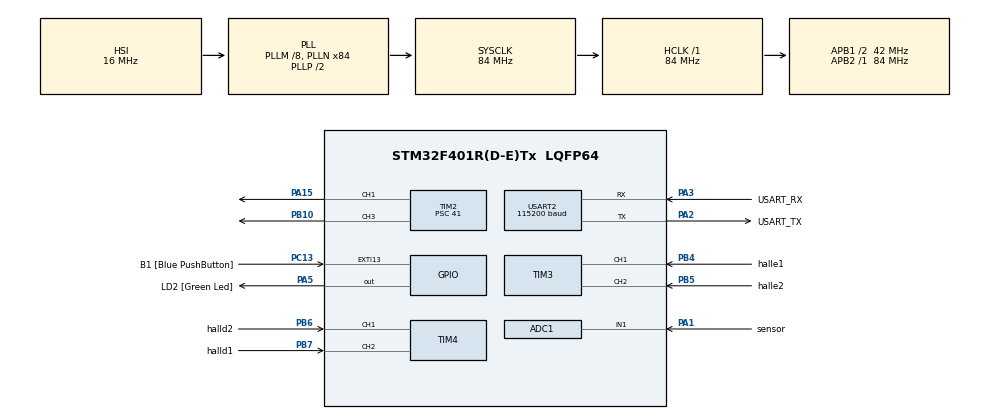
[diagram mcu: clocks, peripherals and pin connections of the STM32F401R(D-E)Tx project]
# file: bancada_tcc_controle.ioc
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ADC1.Channel-1\#ChannelRegularConversion=ADC_CHANNEL_1
ADC1.ContinuousConvMode=ENABLE
ADC1.ExternalTrigConv=ADC_EXTERNALTRIGCONV_T2_TRGO
ADC1.NbrOfConversionFlag=1
ADC1.Rank-1\#ChannelRegularConversion=1
ADC1.SamplingTime-1\#ChannelRegularConversion=ADC_SAMPLETIME_28CYCLES
ADC1.master=1
Dma.Request0=USART2_TX
Dma.USART2_TX.0.Direction=DMA_MEMORY_TO_PERIPH
Dma.USART2_TX.0.FIFOMode=DMA_FIFOMODE_DISABLE
Dma.USART2_TX.0.Instance=DMA1_Stream6
Dma.USART2_TX.0.MemDataAlignment=DMA_MDATAALIGN_BYTE
Dma.USART2_TX.0.MemInc=DMA_MINC_ENABLE
Dma.USART2_TX.0.Mode=DMA_NORMAL
Dma.USART2_TX.0.PeriphDataAlignment=DMA_PDATAALIGN_BYTE
Dma.USART2_TX.0.PeriphInc=DMA_PINC_DISABLE
Dma.USART2_TX.0.Priority=DMA_PRIORITY_LOW
Mcu.Family=STM32F4
Mcu.Name=STM32F401R(D-E)Tx
Mcu.Package=LQFP64
NVIC.ADC_IRQn=true\:0\:0\:false\:false\:true\:true\:true\:true
NVIC.DMA1_Stream6_IRQn=true\:0\:0\:false\:false\:true\:false\:true\:true
NVIC.EXTI15_10_IRQn=true\:0\:0\:false\:false\:true\:true\:true\:true
NVIC.PriorityGroup=NVIC_PRIORITYGROUP_0
NVIC.TIM2_IRQn=true\:0\:0\:false\:false\:true\:true\:true\:true
NVIC.USART2_IRQn=true\:0\:0\:false\:false\:true\:true\:true\:true
PA1.GPIO_Label=sensor
PA1.Signal=ADCx_IN1
PA13.GPIO_Label=TMS
PA13.Mode=Serial_Wire
PA13.Signal=SYS_JTMS-SWDIO
PA14.GPIO_Label=TCK
PA14.Mode=Serial_Wire
PA14.Signal=SYS_JTCK-SWCLK
PA15.Signal=S_TIM2_CH1_ETR
PA2.GPIO_Label=USART_TX
PA2.GPIO_Mode=GPIO_MODE_AF_PP
PA2.GPIO_PuPd=GPIO_NOPULL
PA2.GPIO_Speed=GPIO_SPEED_FREQ_LOW
PA2.Mode=Asynchronous
PA2.Signal=USART2_TX
PA3.GPIO_Label=USART_RX
PA3.GPIO_Mode=GPIO_MODE_AF_PP
PA3.GPIO_PuPd=GPIO_NOPULL
PA3.GPIO_Speed=GPIO_SPEED_FREQ_LOW
PA3.Mode=Asynchronous
PA3.Signal=USART2_RX
PA5.GPIO_Label=LD2 [Green Led]
PA5.GPIO_Mode=GPIO_MODE_OUTPUT_PP
PA5.GPIO_PuPd=GPIO_NOPULL
PA5.GPIO_Speed=GPIO_SPEED_FREQ_LOW
PA5.Signal=GPIO_Output
PB10.Signal=S_TIM2_CH3
PB3.GPIO_Label=SWO
PB3.Signal=SYS_JTDO-SWO
PB4.GPIO_Label=halle1
PB4.Signal=S_TIM3_CH1
PB5.GPIO_Label=halle2
PB5.Signal=S_TIM3_CH2
PB6.GPIO_Label=halld2
PB6.Signal=S_TIM4_CH1
PB7.GPIO_Label=halld1
PB7.Signal=S_TIM4_CH2
PC13-ANTI_TAMP.GPIO_Label=B1 [Blue PushButton]
PC13-ANTI_TAMP.GPIO_ModeDefaultEXTI=GPIO_MODE_IT_FALLING
PC13-ANTI_TAMP.GPIO_PuPd=GPIO_NOPULL
PC13-ANTI_TAMP.Signal=GPXTI13
PC14-OSC32_IN.Mode=LSE-External-Oscillator
PC14-OSC32_IN.Signal=RCC_OSC32_IN
PC15-OSC32_OUT.Mode=LSE-External-Oscillator
PC15-OSC32_OUT.Signal=RCC_OSC32_OUT
PH0\ -\ OSC_IN.Mode=HSE-External-Clock-Source
PH0\ -\ OSC_IN.Signal=RCC_OSC_IN
PH1\ -\ OSC_OUT.Mode=HSE-External-Clock-Source
PH1\ -\ OSC_OUT.Signal=RCC_OSC_OUT
ProjectManager.HeapSize=0x200
ProjectManager.StackSize=0x400
ProjectManager.TargetToolchain=STM32CubeIDE
RCC.48MHZClocksFreq_Value=24000000
RCC.AHBFreq_Value=84000000
RCC.APB1CLKDivider=RCC_HCLK_DIV2
RCC.APB1Freq_Value=42000000
RCC.APB1TimFreq_Value=84000000
RCC.APB2Freq_Value=84000000
RCC.APB2TimFreq_Value=84000000
RCC.CortexFreq_Value=84000000
RCC.HCLKFreq_Value=84000000
RCC.HSE_VALUE=8000000
RCC.HSI_VALUE=16000000
RCC.PLLM=8
RCC.PLLN=84
RCC.PLLQ=7
RCC.SYSCLKFreq_VALUE=84000000
RCC.SYSCLKSource=RCC_SYSCLKSOURCE_PLLCLK
RCC.VCOOutputFreq_Value=168000000
SH.ADCx_IN1.0=ADC1_IN1,IN1
SH.S_TIM2_CH1_ETR.0=TIM2_CH1,PWM Generation1 CH1
SH.S_TIM2_CH3.0=TIM2_CH3,PWM Generation3 CH3
SH.S_TIM3_CH1.0=TIM3_CH1,Encoder_Interface
SH.S_TIM3_CH2.0=TIM3_CH2,Encoder_Interface
SH.S_TIM4_CH1.0=TIM4_CH1,Encoder_Interface
SH.S_TIM4_CH2.0=TIM4_CH2,Encoder_Interface
TIM2.Channel-PWM\ Generation1\ CH1=TIM_CHANNEL_1
TIM2.Channel-PWM\ Generation3\ CH3=TIM_CHANNEL_3
TIM2.Period=19999
TIM2.Prescaler=41
TIM2.TIM_MasterOutputTrigger=TIM_TRGO_UPDATE
TIM3.EncoderMode=TIM_ENCODERMODE_TI12
TIM4.EncoderMode=TIM_ENCODERMODE_TI12
USART2.BaudRate=115200
USART2.VirtualMode=VM_ASYNC
board=NUCLEO-F401RE

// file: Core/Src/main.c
/* USER CODE BEGIN Header */
/**
  ******************************************************************************
  * @file           : main.c
  * @brief          : Main program body
  ******************************************************************************
  * @attention
  *
  * Copyright (c) 2023 STMicroelectronics.
  * All rights reserved.
  *
  * This software is licensed under terms that can be found in the LICENSE file
  * in the root directory of this software component.
  * If no LICENSE file comes with this software, it is provided AS-IS.
  *
  ******************************************************************************
  */
/* USER CODE END Header */
#include "main.h"

/* USER CODE BEGIN Includes */
#include <stdio.h>
/* USER CODE END Includes */

/* USER CODE BEGIN PD */
#define MOTOR_RESET_CONDITION 0
#define MOTOR_IDLE_CONDITION 200
#define MOTOR_HOVER_CONDITION 1000//250
#define MOTOR_MAX_CONTROL 1800

#define KP 1.50f
#define KI 0.001f
#define KD 0.03f

#define IERR_MAX 1000.0f
#define IERR_MIN -1000.0f

#define D_FILTER_ALPHA 0.7f

//#define angle_inclination 0.619770239f
//#define angle_bias 1.187841465f

#define angle_inclination  18.15405//2.138189f
#define angle_bias 27.8726//5431.43f

#define STEP_LEFT_PWM 0
#define STEP_RIGHT_PWM_START 200U
#define STEP_RIGHT_PWM_INCREMENT 200U
#define STEP_RIGHT_PWM_LAST 1800U
#define STEP_SAMPLE_COUNT 1000U
#define STEP_COUNT (((STEP_RIGHT_PWM_LAST - STEP_RIGHT_PWM_START) / STEP_RIGHT_PWM_INCREMENT) + 1U)

/* USER CODE END PD */

ADC_HandleTypeDef hadc1;

TIM_HandleTypeDef htim2;
TIM_HandleTypeDef htim3;
TIM_HandleTypeDef htim4;

UART_HandleTypeDef huart2;
DMA_HandleTypeDef hdma_usart2_tx;

/* USER CODE BEGIN PV */
volatile uint8_t flag_user = 0;
uint8_t pData[2];

void HAL_GPIO_EXTI_Callback(uint16_t GPIO_Pin)
{
	if(GPIO_Pin == B1_Pin)
	{
		flag_user = 1;
	}
}

void blink_led(int repetitions)
{
	for(int i=0; i< repetitions; i++)
	{
	  HAL_GPIO_TogglePin(LD2_GPIO_Port, LD2_Pin);
	  HAL_Delay(20);
	}
}
void wait_user()
{
	while(!flag_user)
	{
		HAL_Delay(10);
	}
	flag_user = 0;
}

volatile uint8_t dataready = 0;
volatile uint32_t angle_in_bits = 0;
void HAL_ADC_ConvCpltCallback(ADC_HandleTypeDef* hadc)
{
    if(hadc->Instance == ADC1)
    {
        angle_in_bits = HAL_ADC_GetValue(hadc);
        dataready = 1U;
    }
}

uint32_t clip(int16_t action, uint16_t min, uint16_t max)
{
	if(action < min) action = min;
	if(action > max) action = max;
	return (uint32_t)action;
}

void PWM_setCombinedValue(TIM_HandleTypeDef* htim, int16_t left_actionx10, int16_t right_actionx10)
{//x20 não x10
	uint32_t norm_U_dir = clip(right_actionx10, 0, 2000);
	uint32_t norm_U_esq = clip(left_actionx10, 0, 2000);
	norm_U_dir = 2000+norm_U_dir;
	norm_U_esq = 2000+norm_U_esq;
	htim->Instance->CCR3 = norm_U_esq;
	htim->Instance->CCR1 = norm_U_dir;
	//__HAL_TIM_SET_COMPARE(&htim2, TIM_CHANNEL_1, norm_U_esq);
	//__HAL_TIM_SET_COMPARE(&htim2, TIM_CHANNEL_3, norm_U_dir);
}

/* USER CODE END PV */

void SystemClock_Config(void);
static void MX_GPIO_Init(void);
static void MX_DMA_Init(void);
static void MX_USART2_UART_Init(void);
static void MX_ADC1_Init(void);
static void MX_TIM2_Init(void);
static void MX_TIM3_Init(void);
static void MX_TIM4_Init(void);

int main(void)
{

  /* MCU Configuration--------------------------------------------------------*/

  /* Reset of all peripherals, Initializes the Flash interface and the Systick. */
  HAL_Init();

  /* Configure the system clock */
  SystemClock_Config();

  /* Initialize all configured peripherals */
  MX_GPIO_Init();
  MX_DMA_Init();
  MX_USART2_UART_Init();
  MX_ADC1_Init();
  MX_TIM2_Init();
  MX_TIM3_Init();
  MX_TIM4_Init();
  /* USER CODE BEGIN 2 */

//  HAL_UART_Transmit(&huart2, pData, 2, 1000);
 // HAL_UART_Transmit(&huart2, "\r\n", 2, 1000);
 //wait_user();
  HAL_TIM_PWM_Init(&htim2);
 // htim2.Instance->ARR = 39999;

  //Motor1 é esquerdo
  HAL_TIM_PWM_Start(&htim2, TIM_CHANNEL_1);
  HAL_TIM_PWM_Start(&htim2, TIM_CHANNEL_3);
  PWM_setCombinedValue(&htim2,0,0);
  HAL_Delay(1000);
  wait_user();
  /* USER CODE END 2 */

  /* Infinite loop */
  /* USER CODE BEGIN WHILE */
  PWM_setCombinedValue(&htim2,300,300);
  wait_user();
  HAL_ADC_Start_IT(&hadc1);
//  HAL_TIM_Encoder_Start(&htim3, TIM_CHANNEL_ALL);
  HAL_TIM_Encoder_Start(&htim4, TIM_CHANNEL_ALL);
  /* DEFINA AQUI AS PARTES DO CONTROLADOR - COMEÇO 1*/
  float angle, err, control, dErr = 0, Ierr=0, prevErr=0, prevEnc4=0, rpm=0;
  int32_t u_action;
  uint32_t md, me, sens_counter=0;
  uint32_t angle_bits_sample = 0;
  uint32_t current_step = 0;
  uint32_t step_idx = 0;
  uint16_t step_right_pwm = 0;
  uint8_t step_active = 0;
  char text[100];
  int msg_len;
  /* DEFINA AQUI AS PARTES DO CONTROLADOR - FIM 1 */
  while (1)
  {
    /* USER CODE END WHILE */

    /* USER CODE BEGIN 3 */
	  if(dataready)
	  {
	      __disable_irq();
	      angle_bits_sample = angle_in_bits;
	      dataready = 0U;
	      __enable_irq();

		  // =============================================
		  // Control Loop
		  // =============================================
	      sens_counter++;

	      /* --- Angle conversion --- */
	      float voltage = (angle_bits_sample * 3.3f) / 4095.0f;
	      angle = voltage * angle_inclination - angle_bias;

	      /* --- Error --- */
	      err = -angle;

	      /* --- Integral with anti-windup --- */
	      Ierr += err;
	      if(Ierr > IERR_MAX) Ierr = IERR_MAX;
	      if(Ierr < IERR_MIN) Ierr = IERR_MIN;

	      /* --- Derivative with filtering --- */
	      float raw_dErr = err - prevErr;
	      dErr = D_FILTER_ALPHA * dErr + (1.0f - D_FILTER_ALPHA) * raw_dErr;

	      prevErr = err;

	      /* --- PID control --- */
	      control = KP * err + KI * Ierr + KD * dErr;

	      /* --- Control scaling --- */
	      u_action = (int32_t)(control / 2.0f);

	      /* --- Motor mixing --- */
	      md = MOTOR_HOVER_CONDITION + u_action;
	      me = MOTOR_HOVER_CONDITION - u_action;

	      /* --- Saturation --- */
	      md = clip(md, MOTOR_IDLE_CONDITION, MOTOR_MAX_CONTROL);
	      me = clip(me, MOTOR_IDLE_CONDITION, MOTOR_MAX_CONTROL);

	      step_active = 0U;
	      current_step = 0U;
	      step_right_pwm = 0U;
	      for(step_idx = 0U; step_idx < STEP_COUNT; step_idx++)
	      {
	          if(sens_counter <= ((step_idx + 1U) * STEP_SAMPLE_COUNT))
	          {
	              current_step = step_idx + 1U;
	              step_right_pwm = (uint16_t)(STEP_RIGHT_PWM_START + (step_idx * STEP_RIGHT_PWM_INCREMENT));
	              step_active = 1U;
	              break;
	          }
	      }

	      if(step_active)
	      {
	          PWM_setCombinedValue(&htim2, STEP_LEFT_PWM, step_right_pwm);
	          HAL_GPIO_TogglePin(LD2_GPIO_Port, LD2_Pin);
	      }
	      else
	      {
	          PWM_setCombinedValue(&htim2, MOTOR_IDLE_CONDITION, MOTOR_IDLE_CONDITION);
	      }

		  // =============================================
		  // Sensors Log
		  // =============================================
//	      int16_t enc3 = __HAL_TIM_GET_COUNTER(&htim3);
	      int16_t enc4 = __HAL_TIM_GET_COUNTER(&htim4);
          if(abs(enc4) > 32000) // overflow
          {
            enc4=0;
          }
	      rpm = (enc4 - prevEnc4)* 100 / 28 * 60; // \deltaEnc/(picos * \delta t) * (60 sec/min)
	      prevEnc4 = enc4;

	      if(step_active)
	      {
	          msg_len = snprintf(text, sizeof(text), "step=%lu,bits=%lu,rpm=%ld\r\n",
	                  (unsigned long)current_step, (unsigned long)angle_bits_sample, (long)rpm);
	          HAL_UART_Transmit(&huart2, (uint8_t*)text, (uint16_t)msg_len, 50);
	      }
	  }

	//HAL_UART_Transmit_DMA(&huart2, text, 50);

  }
  /* USER CODE END 3 */
}

void SystemClock_Config(void)
{
  RCC_OscInitTypeDef RCC_OscInitStruct = {0};
  RCC_ClkInitTypeDef RCC_ClkInitStruct = {0};

  /** Configure the main internal regulator output voltage
  */
  __HAL_RCC_PWR_CLK_ENABLE();
  __HAL_PWR_VOLTAGESCALING_CONFIG(PWR_REGULATOR_VOLTAGE_SCALE2);

  /** Initializes the RCC Oscillators according to the specified parameters
  * in the RCC_OscInitTypeDef structure.
  */
  RCC_OscInitStruct.OscillatorType = RCC_OSCILLATORTYPE_HSI;
  RCC_OscInitStruct.HSIState = RCC_HSI_ON;
  RCC_OscInitStruct.HSICalibrationValue = RCC_HSICALIBRATION_DEFAULT;
  RCC_OscInitStruct.PLL.PLLState = RCC_PLL_ON;
  RCC_OscInitStruct.PLL.PLLSource = RCC_PLLSOURCE_HSI;
  RCC_OscInitStruct.PLL.PLLM = 8;
  RCC_OscInitStruct.PLL.PLLN = 84;
  RCC_OscInitStruct.PLL.PLLP = RCC_PLLP_DIV2;
  RCC_OscInitStruct.PLL.PLLQ = 7;
  if (HAL_RCC_OscConfig(&RCC_OscInitStruct) != HAL_OK)
  {
    Error_Handler();
  }

  /** Initializes the CPU, AHB and APB buses clocks
  */
  RCC_ClkInitStruct.ClockType = RCC_CLOCKTYPE_HCLK|RCC_CLOCKTYPE_SYSCLK
                              |RCC_CLOCKTYPE_PCLK1|RCC_CLOCKTYPE_PCLK2;
  RCC_ClkInitStruct.SYSCLKSource = RCC_SYSCLKSOURCE_PLLCLK;
  RCC_ClkInitStruct.AHBCLKDivider = RCC_SYSCLK_DIV1;
  RCC_ClkInitStruct.APB1CLKDivider = RCC_HCLK_DIV2;
  RCC_ClkInitStruct.APB2CLKDivider = RCC_HCLK_DIV1;

  if (HAL_RCC_ClockConfig(&RCC_ClkInitStruct, FLASH_LATENCY_2) != HAL_OK)
  {
    Error_Handler();
  }
}

static void MX_ADC1_Init(void)
{

  ADC_ChannelConfTypeDef sConfig = {0};

  /** Configure the global features of the ADC (Clock, Resolution, Data Alignment and number of conversion)
  */
  hadc1.Instance = ADC1;
  hadc1.Init.ClockPrescaler = ADC_CLOCK_SYNC_PCLK_DIV4;
  hadc1.Init.Resolution = ADC_RESOLUTION_12B;
  hadc1.Init.ScanConvMode = DISABLE;
  hadc1.Init.ContinuousConvMode = ENABLE;
  hadc1.Init.DiscontinuousConvMode = DISABLE;
  hadc1.Init.ExternalTrigConvEdge = ADC_EXTERNALTRIGCONVEDGE_RISING;
  hadc1.Init.ExternalTrigConv = ADC_EXTERNALTRIGCONV_T2_TRGO;
  hadc1.Init.DataAlign = ADC_DATAALIGN_RIGHT;
  hadc1.Init.NbrOfConversion = 1;
  hadc1.Init.DMAContinuousRequests = DISABLE;
  hadc1.Init.EOCSelection = ADC_EOC_SINGLE_CONV;
  if (HAL_ADC_Init(&hadc1) != HAL_OK)
  {
    Error_Handler();
  }

  /** Configure for the selected ADC regular channel its corresponding rank in the sequencer and its sample time.
  */
  sConfig.Channel = ADC_CHANNEL_1;
  sConfig.Rank = 1;
  sConfig.SamplingTime = ADC_SAMPLETIME_28CYCLES;
  if (HAL_ADC_ConfigChannel(&hadc1, &sConfig) != HAL_OK)
  {
    Error_Handler();
  }

}

static void MX_TIM2_Init(void)
{

  TIM_MasterConfigTypeDef sMasterConfig = {0};
  TIM_OC_InitTypeDef sConfigOC = {0};

  htim2.Instance = TIM2;
  htim2.Init.Prescaler = 41;
  htim2.Init.CounterMode = TIM_COUNTERMODE_UP;
  htim2.Init.Period = 19999;
  htim2.Init.ClockDivision = TIM_CLOCKDIVISION_DIV1;
  htim2.Init.AutoReloadPreload = TIM_AUTORELOAD_PRELOAD_DISABLE;
  if (HAL_TIM_PWM_Init(&htim2) != HAL_OK)
  {
    Error_Handler();
  }
  sMasterConfig.MasterOutputTrigger = TIM_TRGO_UPDATE;
  sMasterConfig.MasterSlaveMode = TIM_MASTERSLAVEMODE_DISABLE;
  if (HAL_TIMEx_MasterConfigSynchronization(&htim2, &sMasterConfig) != HAL_OK)
  {
    Error_Handler();
  }
  sConfigOC.OCMode = TIM_OCMODE_PWM1;
  sConfigOC.Pulse = 0;
  sConfigOC.OCPolarity = TIM_OCPOLARITY_HIGH;
  sConfigOC.OCFastMode = TIM_OCFAST_DISABLE;
  if (HAL_TIM_PWM_ConfigChannel(&htim2, &sConfigOC, TIM_CHANNEL_1) != HAL_OK)
  {
    Error_Handler();
  }
  if (HAL_TIM_PWM_ConfigChannel(&htim2, &sConfigOC, TIM_CHANNEL_3) != HAL_OK)
  {
    Error_Handler();
  }
  HAL_TIM_MspPostInit(&htim2);

}

static void MX_TIM3_Init(void)
{

  TIM_Encoder_InitTypeDef sConfig = {0};
  TIM_MasterConfigTypeDef sMasterConfig = {0};

  htim3.Instance = TIM3;
  htim3.Init.Prescaler = 0;
  htim3.Init.CounterMode = TIM_COUNTERMODE_UP;
  htim3.Init.Period = 65535;
  htim3.Init.ClockDivision = TIM_CLOCKDIVISION_DIV1;
  htim3.Init.AutoReloadPreload = TIM_AUTORELOAD_PRELOAD_DISABLE;
  sConfig.EncoderMode = TIM_ENCODERMODE_TI12;
  sConfig.IC1Polarity = TIM_ICPOLARITY_RISING;
  sConfig.IC1Selection = TIM_ICSELECTION_DIRECTTI;
  sConfig.IC1Prescaler = TIM_ICPSC_DIV1;
  sConfig.IC1Filter = 0;
  sConfig.IC2Polarity = TIM_ICPOLARITY_RISING;
  sConfig.IC2Selection = TIM_ICSELECTION_DIRECTTI;
  sConfig.IC2Prescaler = TIM_ICPSC_DIV1;
  sConfig.IC2Filter = 0;
  if (HAL_TIM_Encoder_Init(&htim3, &sConfig) != HAL_OK)
  {
    Error_Handler();
  }
  sMasterConfig.MasterOutputTrigger = TIM_TRGO_RESET;
  sMasterConfig.MasterSlaveMode = TIM_MASTERSLAVEMODE_DISABLE;
  if (HAL_TIMEx_MasterConfigSynchronization(&htim3, &sMasterConfig) != HAL_OK)
  {
    Error_Handler();
  }

}

static void MX_TIM4_Init(void)
{

  TIM_Encoder_InitTypeDef sConfig = {0};
  TIM_MasterConfigTypeDef sMasterConfig = {0};

  htim4.Instance = TIM4;
  htim4.Init.Prescaler = 0;
  htim4.Init.CounterMode = TIM_COUNTERMODE_UP;
  htim4.Init.Period = 65535;
  htim4.Init.ClockDivision = TIM_CLOCKDIVISION_DIV1;
  htim4.Init.AutoReloadPreload = TIM_AUTORELOAD_PRELOAD_DISABLE;
  sConfig.EncoderMode = TIM_ENCODERMODE_TI12;
  sConfig.IC1Polarity = TIM_ICPOLARITY_RISING;
  sConfig.IC1Selection = TIM_ICSELECTION_DIRECTTI;
  sConfig.IC1Prescaler = TIM_ICPSC_DIV1;
  sConfig.IC1Filter = 0;
  sConfig.IC2Polarity = TIM_ICPOLARITY_RISING;
  sConfig.IC2Selection = TIM_ICSELECTION_DIRECTTI;
  sConfig.IC2Prescaler = TIM_ICPSC_DIV1;
  sConfig.IC2Filter = 0;
  if (HAL_TIM_Encoder_Init(&htim4, &sConfig) != HAL_OK)
  {
    Error_Handler();
  }
  sMasterConfig.MasterOutputTrigger = TIM_TRGO_RESET;
  sMasterConfig.MasterSlaveMode = TIM_MASTERSLAVEMODE_DISABLE;
  if (HAL_TIMEx_MasterConfigSynchronization(&htim4, &sMasterConfig) != HAL_OK)
  {
    Error_Handler();
  }

}

static void MX_USART2_UART_Init(void)
{

  huart2.Instance = USART2;
  huart2.Init.BaudRate = 115200;
  huart2.Init.WordLength = UART_WORDLENGTH_8B;
  huart2.Init.StopBits = UART_STOPBITS_1;
  huart2.Init.Parity = UART_PARITY_NONE;
  huart2.Init.Mode = UART_MODE_TX_RX;
  huart2.Init.HwFlowCtl = UART_HWCONTROL_NONE;
  huart2.Init.OverSampling = UART_OVERSAMPLING_16;
  if (HAL_UART_Init(&huart2) != HAL_OK)
  {
    Error_Handler();
  }

}

static void MX_DMA_Init(void)
{

  /* DMA controller clock enable */
  __HAL_RCC_DMA1_CLK_ENABLE();

  /* DMA interrupt init */
  /* DMA1_Stream6_IRQn interrupt configuration */
  HAL_NVIC_SetPriority(DMA1_Stream6_IRQn, 0, 0);
  HAL_NVIC_EnableIRQ(DMA1_Stream6_IRQn);

}

static void MX_GPIO_Init(void)
{
  GPIO_InitTypeDef GPIO_InitStruct = {0};

  /* GPIO Ports Clock Enable */
  __HAL_RCC_GPIOC_CLK_ENABLE();
  __HAL_RCC_GPIOH_CLK_ENABLE();
  __HAL_RCC_GPIOA_CLK_ENABLE();
  __HAL_RCC_GPIOB_CLK_ENABLE();

  /*Configure GPIO pin Output Level */
  HAL_GPIO_WritePin(LD2_GPIO_Port, LD2_Pin, GPIO_PIN_RESET);

  /*Configure GPIO pin : B1_Pin */
  GPIO_InitStruct.Pin = B1_Pin;
  GPIO_InitStruct.Mode = GPIO_MODE_IT_FALLING;
  GPIO_InitStruct.Pull = GPIO_NOPULL;
  HAL_GPIO_Init(B1_GPIO_Port, &GPIO_InitStruct);

  /*Configure GPIO pin : LD2_Pin */
  GPIO_InitStruct.Pin = LD2_Pin;
  GPIO_InitStruct.Mode = GPIO_MODE_OUTPUT_PP;
  GPIO_InitStruct.Pull = GPIO_NOPULL;
  GPIO_InitStruct.Speed = GPIO_SPEED_FREQ_LOW;
  HAL_GPIO_Init(LD2_GPIO_Port, &GPIO_InitStruct);

  /* EXTI interrupt init*/
  HAL_NVIC_SetPriority(EXTI15_10_IRQn, 0, 0);
  HAL_NVIC_EnableIRQ(EXTI15_10_IRQn);

}

void Error_Handler(void)
{
  __disable_irq();
  while (1)
  {
  }
}
